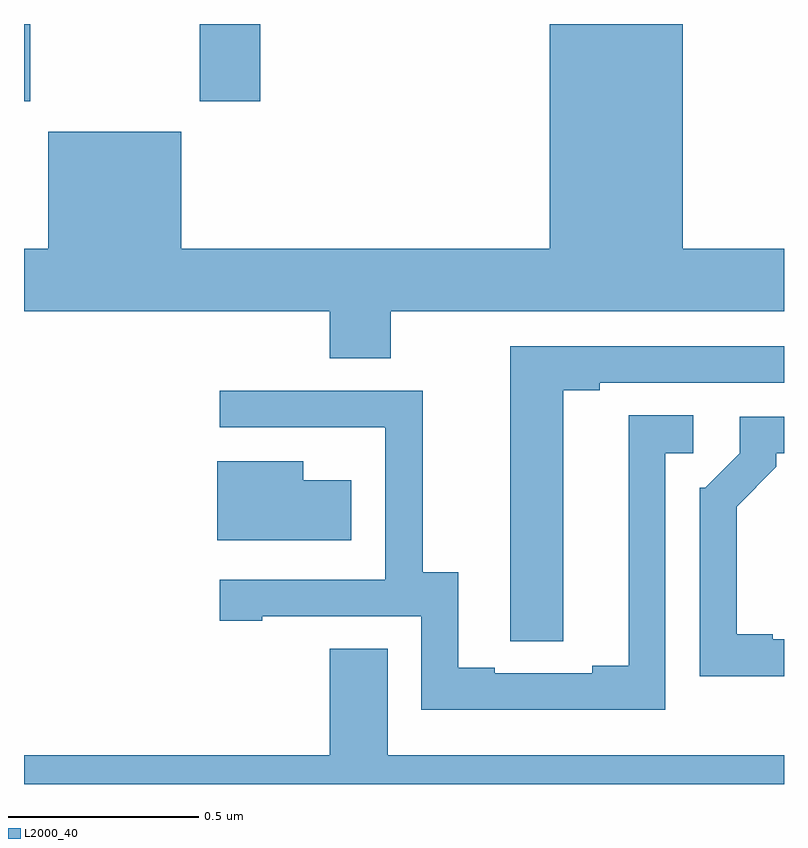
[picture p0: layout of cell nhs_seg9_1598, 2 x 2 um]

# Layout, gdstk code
import gdstk
lib = gdstk.Library(unit=1e-6, precision=1e-09)
def R(c, l, rs):  # rectangles x0, y0, x1, y1
    for r in rs: c.add(gdstk.rectangle(r[:2], r[2:], *l))
def P(c, l, *ps):  # polygons
    for p in ps: c.add(gdstk.Polygon(p, *l))
L2000_40 = (2000, 40)

nhs_seg9_1598 = lib.new_cell('nhs_seg9_1598')
R(nhs_seg9_1598, L2000_40, [(130,1206.297,130.017,1206.5), (130.462,1206.297,130.622,1206.5)])
P(nhs_seg9_1598, L2000_40, [(130.965,1205.744),(132,1205.744),(132,1205.908),(131.734,1205.908),(131.734,1206.5),(131.384,1206.5),(131.384,1205.908),(130.414,1205.908),(130.414,1206.217),(130.064,1206.217),(130.064,1205.908),(130,1205.908),(130,1205.744),(130.805,1205.744),(130.805,1205.62),(130.965,1205.62)],
  [(131.419,1205.536),(131.515,1205.536),(131.515,1205.556),(132,1205.556),(132,1205.652),(131.279,1205.652),(131.279,1204.984),(131.28,1204.984),(131.28,1204.876),(131.419,1204.876)],
  [(131.688,1205.37),(131.761,1205.37),(131.761,1205.471),(131.591,1205.471),(131.591,1204.811),(131.495,1204.811),(131.495,1204.791),(131.239,1204.791),(131.239,1204.806),(131.143,1204.806),(131.143,1205.057),(131.049,1205.057),(131.049,1205.535),(130.515,1205.535),(130.515,1205.439),(130.949,1205.439),(130.949,1205.438),(130.95,1205.438),(130.95,1205.037),(130.515,1205.037),(130.515,1204.929),(130.627,1204.929),(130.627,1204.941),(131.046,1204.941),(131.046,1204.695),(131.688,1204.695)],
  [(132,1204.881),(131.971,1204.881),(131.971,1204.894),(131.875,1204.894),(131.875,1205.23),(131.98,1205.335),(131.98,1205.37),(132,1205.37),(132,1205.466),(131.883,1205.466),(131.883,1205.37),(131.793,1205.28),(131.778,1205.28),(131.778,1204.784),(132,1204.784)],
  [(130.861,1205.299),(130.735,1205.299),(130.735,1205.35),(130.508,1205.35),(130.508,1205.141),(130.861,1205.141)],
  [(132,1204.576),(130.957,1204.576),(130.957,1204.856),(130.805,1204.856),(130.805,1204.576),(130,1204.576),(130,1204.5),(132,1204.5)])

lib.write_gds('nhs_seg9_1598.gds')
